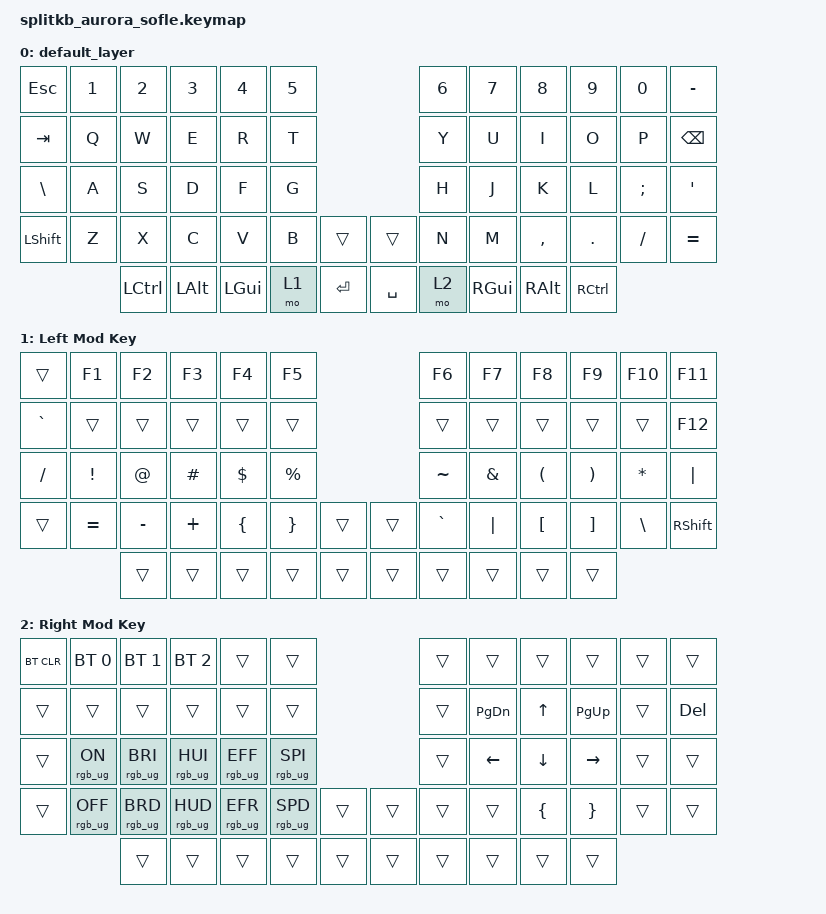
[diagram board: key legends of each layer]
/*
 * Copyright (c) 2023 The ZMK Contributors
 *
 * SPDX-License-Identifier: MIT
 */

#include <behaviors.dtsi>
#include <dt-bindings/zmk/bt.h>
#include <dt-bindings/zmk/keys.h>
#include <dt-bindings/zmk/rgb.h>

// Uncomment this block if using RGB

&led_strip {
    chain-length = <6>;
    chain-length = <35>; // Uncomment if using both per-key and underglow LEDs
    // chain-length = <29>; // Uncomment if using only per-key LEDs.
};

/ {
    keymap {
        compatible = "zmk,keymap";

        default_layer {
            // ------------------------------------------------------------------------------------------------------------
            // |  ESC  |  1  |  2  |  3   |  4   |  5   |                   |  6   |  7    |  8    |  9   |   0   |   `   |
            // |  TAB  |  Q  |  W  |  E   |  R   |  T   |                   |  Y   |  U    |  I    |  O   |   P   |   -   |
            // |  CTRL |  A  |  S  |  D   |  F   |  G   |                   |  H   |  J    |  K    |  L   |   ;   |   '   |
            // | SHIFT |  Z  |  X  |  C   |  V   |  B   |   "["  |  |  "]"  |  N   |  M    |  ,    |  .   |   /   | SHIFT |
            //               |CTRL | ALT  | GUI  | LOWER|  SPACE |  | ENTER | RAISE| BSPC  | GUI   | RALT |

            bindings = <
&kp ESC        &kp N1  &kp N2     &kp N3    &kp N4    &kp N5                          &kp N6  &kp N7    &kp N8     &kp N9     &kp N0     &kp MINUS
&kp TAB        &kp Q   &kp W      &kp E     &kp R     &kp T                           &kp Y   &kp U     &kp I      &kp O      &kp P      &kp BACKSPACE
&kp BACKSLASH  &kp A   &kp S      &kp D     &kp F     &kp G                           &kp H   &kp J     &kp K      &kp L      &kp SEMI   &kp SQT
&kp LSHFT      &kp Z   &kp X      &kp C     &kp V     &kp B   &trans       &trans     &kp N   &kp M     &kp COMMA  &kp DOT    &kp SLASH  &kp EQUAL
                       &kp LCTRL  &kp LALT  &kp LGUI  &mo 1   &kp ENTER    &kp SPACE  &mo 2   &kp RGUI  &kp RALT   &kp RCTRL
            >;
        };

        left_lower_layer {
            // ------------------------------------------------------------------------------------------------------------
            // | BTCLR | BT1 | BT2 |  BT3 |  BT4 |  BT5 |                   |      |       |       |      |       |       |
            // |  F1   |  F2 |  F3 |  F4  |  F5  |  F6  |                   |  F7  |  F8   |  F9   |  F10 |  F11  |  F12  |
            // |   `   |  !  |  @  |  #   |  $   |  %   |                   |  ^   |  &    |  *    |  (   |   )   |   ~   |
            // |       |     |     |      |      |      |        |  |       |      |  _    |  +    |  {   |   }   |  "|"  |
            //               |     |      |      |      |        |  |       |      |       |       |      |

            bindings = <
&trans     &kp F1     &kp F2     &kp F3    &kp F4      &kp F5                             &kp F6     &kp F7    &kp F8                &kp F9                 &kp F10        &kp F11
&kp GRAVE  &trans     &trans     &trans    &trans      &trans                             &trans     &trans    &trans                &trans                 &trans         &kp F12
&kp SLASH  &kp EXCL   &kp AT     &kp HASH  &kp DOLLAR  &kp PRCNT                          &kp TILDE  &kp AMPS  &kp LEFT_PARENTHESIS  &kp RIGHT_PARENTHESIS  &kp ASTRK      &kp PIPE
&trans     &kp EQUAL  &kp MINUS  &kp PLUS  &kp LBRC    &kp RIGHT_BRACE  &trans    &trans  &kp GRAVE  &kp PIPE  &kp LEFT_BRACKET      &kp RIGHT_BRACKET      &kp BACKSLASH  &kp RIGHT_SHIFT
                      &trans     &trans    &trans      &trans           &trans    &trans  &trans     &trans    &trans                &trans
            >;

            label = "Left Mod Key";
        };

        raise_layer {
            // ------------------------------------------------------------------------------------------------------------
            // |       |     |     |      |      |      |                   |      |       |       |      |       |       |
            // |   `   |  1  |  2  |  3   |  4   |  5   |                   |  6   |   7   |   8   |  9   |   0   |       |
            // |   F1  |  F2 |  F3 |  F4  |  F5  |  F6  |                   |      |   <-  |   v   |  ^   |  ->   |       |
            // |   F7  |  F8 |  F9 |  F10 |  F11 |  F12 |        |  |       |  +   |   -   |   =   |  [   |   ]   |   \   |
            //               |     |      |      |      |        |  |       |      |       |       |      |

            bindings = <
&bt BT_CLR  &bt BT_SEL 0     &bt BT_SEL 1     &bt BT_SEL 2     &trans           &trans                             &trans  &trans          &trans          &trans           &trans  &trans
&trans      &trans           &trans           &trans           &trans           &trans                             &trans  &kp PAGE_DOWN   &kp UP_ARROW    &kp PAGE_UP      &trans  &kp DEL
&trans      &rgb_ug RGB_ON   &rgb_ug RGB_BRI  &rgb_ug RGB_HUI  &rgb_ug RGB_EFF  &rgb_ug RGB_SPI                    &trans  &kp LEFT_ARROW  &kp DOWN_ARROW  &kp RIGHT_ARROW  &trans  &trans
&trans      &rgb_ug RGB_OFF  &rgb_ug RGB_BRD  &rgb_ug RGB_HUD  &rgb_ug RGB_EFR  &rgb_ug RGB_SPD  &trans    &trans  &trans  &trans          &kp LEFT_BRACE  &kp RIGHT_BRACE  &trans  &trans
                             &trans           &trans           &trans           &trans           &trans    &trans  &trans  &trans          &trans          &trans
            >;

            label = "Right Mod Key ";
        };
    };
};
